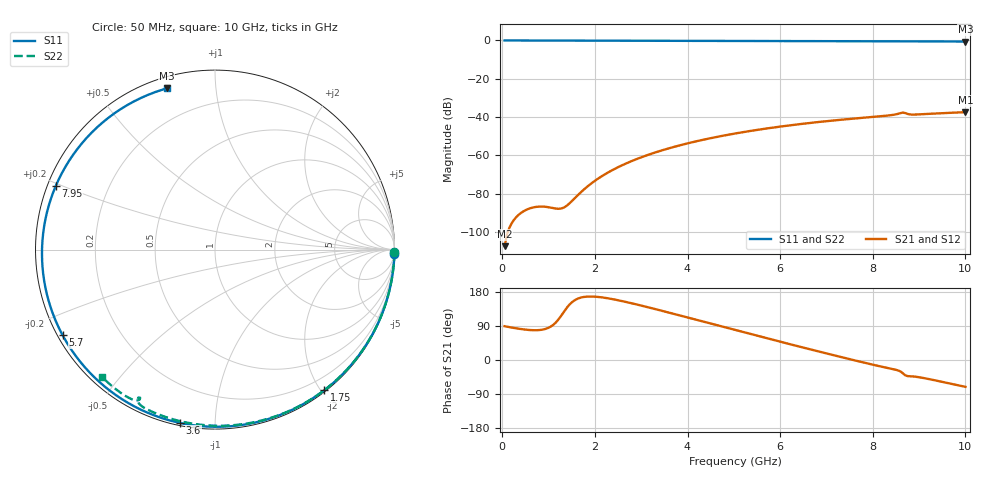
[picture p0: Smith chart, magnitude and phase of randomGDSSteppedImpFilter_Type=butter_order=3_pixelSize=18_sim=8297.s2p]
! freq	dB(S11)	phase(S11)	dB(S12)	phase(S12)
!  dB(S21)	phase(S21)	dB(S22)	phase(S22)
!S-par simulation data
#  GHz  S  DB  R 50
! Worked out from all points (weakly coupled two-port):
!   200 points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, 50 MHz to 10 GHz, reference 50 ohm
!   highest |S21| = -37.44 dB at 10 GHz (marker M1); lowest = -107.4 dB at 50 MHz (marker M2)
!   lowest |S11| = -0.6 dB at 10 GHz (marker M3), VSWR 31.00, Z = 2.5 + j37.1 ohm
!   |S11| at or under -10 dB: nowhere
!   |S22| runs from -0.7 to 0.0 dB; largest |S21 - S12| = 0
!   S11 on the Smith chart (normalised r, x): 50 MHz: 0, -74; 1.75 GHz: 0.02, -2.04; 3.6 GHz: 0.01, -0.82; 5.7 GHz: 0.01, -0.26; 7.95 GHz: 0.02, +0.19; 10 GHz: 0.05, +0.74
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0.05  -0.00 -1.5  -107.41 89.2  -107.41 89.2  -0.00 -0.8
0.4  -0.02 -12.2  -90.11 81.7  -90.11 81.7  -0.01 -6.1
0.8  -0.03 -24.3  -86.74 79.0  -86.74 79.0  -0.02 -12.1
1.65  -0.06 -49.3  -80.33 162.9  -80.33 162.9  -0.03 -24.8
1.75  -0.07 -52.1  -78.08 166.1  -78.08 166.1  -0.03 -26.3
2.05  -0.08 -60.6  -72.43 166.7  -72.43 166.7  -0.04 -30.7
2.45  -0.09 -71.6  -66.77 159.0  -66.77 159.0  -0.05 -36.5
2.9  -0.10 -83.5  -61.94 146.6  -61.94 146.6  -0.06 -42.9
3.4  -0.12 -96.4  -57.73 131.3  -57.73 131.3  -0.07 -50.0
3.6  -0.13 -101.4  -56.29 125.0  -56.29 125.0  -0.07 -52.8
4.3  -0.16 -118.4  -52.04 102.6  -52.04 102.6  -0.09 -62.4
5.05  -0.19 -135.9  -48.49 78.5  -48.49 78.5  -0.11 -72.4
5.7  -0.23 -150.6  -45.99 57.8  -45.99 57.8  -0.13 -80.8
6.7  -0.30 -173.1  -42.92 26.5  -42.92 26.5  -0.18 -93.3
7.35  -0.35 172.2  -41.32 6.7  -41.32 6.7  -0.22 -101.3
7.95  -0.40 158.3  -40.03 -10.9  -40.03 -10.9  -0.26 -108.5
8.35  -0.43 148.8  -39.13 -21.9  -39.13 -21.9  -0.30 -113.6
8.65  -0.46 141.5  -37.68 -35.1  -37.68 -35.1  -0.64 -117.4
8.75  -0.46 139.0  -38.36 -42.5  -38.36 -42.5  -0.59 -116.6
8.9  -0.48 135.3  -38.69 -43.8  -38.69 -43.8  -0.43 -118.4
9.45  -0.52 121.3  -38.03 -56.4  -38.03 -56.4  -0.41 -125.2
10  -0.56 106.7  -37.44 -70.9  -37.44 -70.9  -0.46 -131.6
